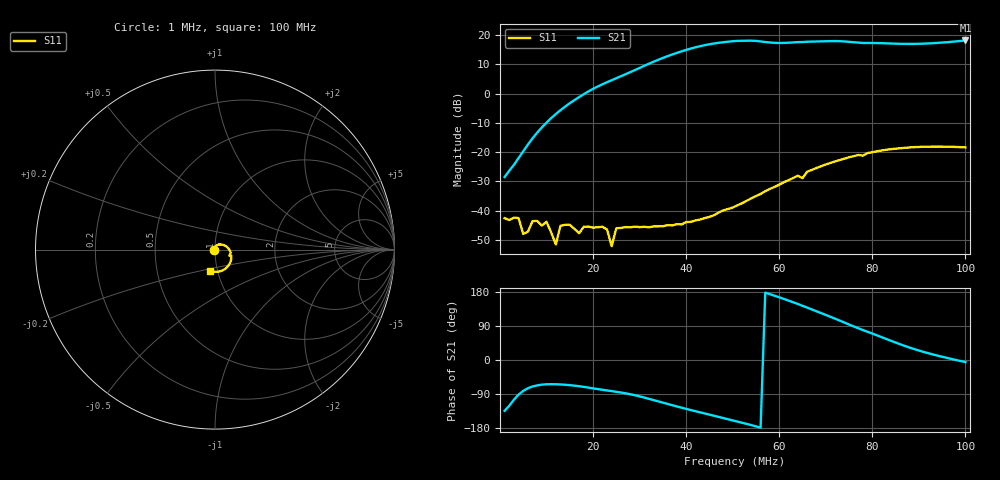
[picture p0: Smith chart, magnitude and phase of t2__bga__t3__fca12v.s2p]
# HZ S RI R 50
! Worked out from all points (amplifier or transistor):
!   100 points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, 1 MHz to 100 MHz, reference 50 ohm
!   highest |S21| = 18.1 dB at 100 MHz (marker M1)
!   |S21| within 3 dB of that: 40.51 MHz to end of sweep
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1000001  -0.00742 -0.000347  -0.0261 -0.027  0 0  0 0
5000001  0.00274 -0.0029  0.0152 -0.1019  0 0  0 0
1e7  -0.00635 -0.00112  0.1392 -0.2864  0 0  0 0
1.2e7  -0.00258 -0.000553  0.1959 -0.4017  0 0  0 0
1.3e7  -0.00545 0.000857  0.2235 -0.469  0 0  0 0
1.8e7  -0.00528 0.000452  0.3184 -0.9214  0 0  0 0
2.4e7  -0.00246 -0.000208  0.2328 -1.675  0 0  0 0
2.8e7  -0.00514 0.000741  -0.0137 -2.322  0 0  0 0
3.4e7  -0.00519 0.00142  -1.239 -3.566  0 0  0 0
3.9e7  -0.00515 0.00266  -3.074 -4.262  0 0  0 0
4.3e7  -0.00494 0.005  -4.802 -4.302  0 0  0 0
4.7e7  -0.00441 0.00818  -6.397 -3.659  0 0  0 0
5.1e7  -0.00194 0.0122  -7.568 -2.375  0 0  0 0
5.5e7  0.0023 0.0176  -7.904 -0.6741  0 0  0 0
6.4e7  0.0284 0.0274  -6.41 4.026  0 0  0 0
6.7e7  0.0415 0.0272  -5.313 5.607  0 0  0 0
7.1e7  0.0629 0.0174  -3.198 7.178  0 0  0 0
7.4e7  0.0772 0.00332  -1.189 7.674  0 0  0 0
8e7  0.0905 -0.0415  2.533 6.857  0 0  0 0
8.4e7  0.0833 -0.075  4.534 5.541  0 0  0 0
9e7  0.0481 -0.1124  6.424 2.994  0 0  0 0
1e8  -0.026 -0.1177  8.041 -0.7659  0 0  0 0
